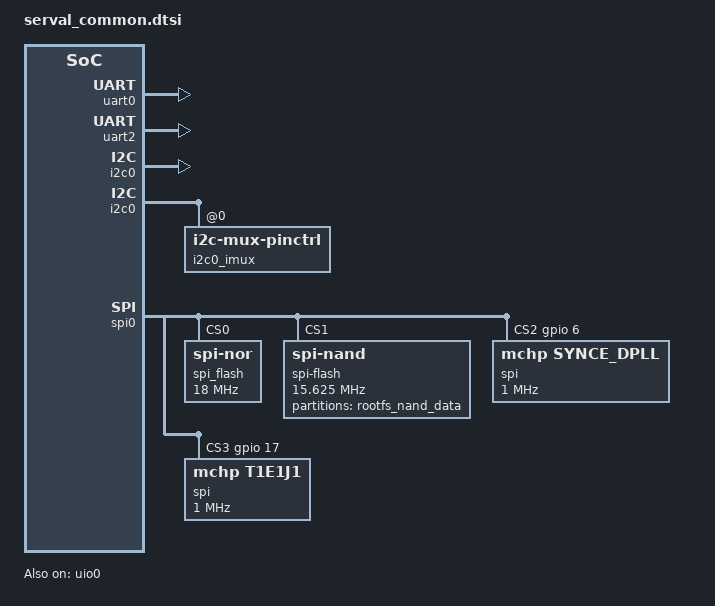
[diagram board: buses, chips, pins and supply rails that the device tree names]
// SPDX-License-Identifier: (GPL-2.0+ OR MIT)
/*
 * Copyright (c) 2020 Microsemi Corporation
 */

#include "serval.dtsi"

/ {
	aliases {
		spi0 = &spi0;
		serial0 = &uart0;
		i2c104  = &i2c104;
		i2c105  = &i2c105;
		i2c106  = &i2c106;
		i2c107  = &i2c107;
		i2c108  = &i2c108;
		i2c109  = &i2c109;
	};

	chosen {
		stdout-path = "serial0:115200n8";
	};
};

&uart0 {
	status = "okay";
};

&uart2 {
	status = "okay";
};

&uio0 {
	status = "okay";
};

&gpio {
	i2c_pins: i2c-pins {
		pins = "GPIO_7"; /* No "default" scl for i2c0 */
		function = "twi";
	};
	i2cmux_pins_i: i2cmux-pins {
		pins = "GPIO_11", "GPIO_12", "GPIO_18", "GPIO_19",
			"GPIO_20", "GPIO_21";
		function = "twi_scl_m";
		output-low;
	};
	i2cmux_0: i2cmux-0-pins {
		pins = "GPIO_11";
		function = "twi_scl_m";
		output-high;
	};
	i2cmux_1: i2cmux-1-pins {
		pins = "GPIO_12";
		function = "twi_scl_m";
		output-high;
	};
	i2cmux_2: i2cmux-2-pins {
		pins = "GPIO_18";
		function = "twi_scl_m";
		output-high;
	};
	i2cmux_3: i2cmux-3-pins {
		pins = "GPIO_19";
		function = "twi_scl_m";
		output-high;
	};
	i2cmux_4: i2cmux-4-pins {
		pins = "GPIO_20";
		function = "twi_scl_m";
		output-high;
	};
	i2cmux_5: i2cmux-5-pins {
		pins = "GPIO_21";
		function = "twi_scl_m";
		output-high;
	};
};

&i2c0 {
	status = "okay";
	i2c-sda-hold-time-ns = <300>;
};

&ahb {
	i2c0_imux: i2c0-imux@0 {
		compatible = "i2c-mux-pinctrl";
		#address-cells = <1>;
		#size-cells = <0>;
		i2c-parent = <&i2c0>;
		pinctrl-names =
			"i2c104", "i2c105", "i2c106", "i2c107",
			"i2c108", "i2c109", "idle";
		pinctrl-0 = <&i2cmux_0>;
		pinctrl-1 = <&i2cmux_1>;
		pinctrl-2 = <&i2cmux_2>;
		pinctrl-3 = <&i2cmux_3>;
		pinctrl-4 = <&i2cmux_4>;
		pinctrl-5 = <&i2cmux_5>;
		pinctrl-6 = <&i2cmux_pins_i>;
		i2c104: i2c_sfp0 {
			reg = <0>;
			#address-cells = <1>;
			#size-cells = <0>;
		};
		i2c105: i2c_sfp1 {
			reg = <1>;
			#address-cells = <1>;
			#size-cells = <0>;
		};
		i2c106: i2c_sfp2 {
			reg = <2>;
			#address-cells = <1>;
			#size-cells = <0>;
		};
		i2c107: i2c_sfp3 {
			reg = <3>;
			#address-cells = <1>;
			#size-cells = <0>;
		};
		i2c108: i2c_sfp4 {
			reg = <4>;
			#address-cells = <1>;
			#size-cells = <0>;
		};
		i2c109: i2c_sfp5 {
			reg = <5>;
			#address-cells = <1>;
			#size-cells = <0>;
		};
	};
};

&spi0 {
	status = "okay";
	cs-gpios = <0>, <0>, <&gpio 6 0>, <&gpio 17 0>;
	spi-flash@0 {
		label = "spi_flash";
		compatible = "jedec,spi-nor";
		spi-max-frequency = <18000000>; /* input clock */
		reg = <0>; /* CS0 */
	};
	spi-flash@1 {
		compatible = "spi-nand";
		pinctrl-0 = <&cs1_pins>;
		pinctrl-names = "default";
		spi-max-frequency = <15625000>;
		reg = <1>; /* CS1 */
		nand-use-soft-ecc-engine;
		nand-ecc-algo = "hamming";
		partitions {
			compatible = "fixed-partitions";
			#address-cells = <1>;
			#size-cells = <1>;
			/* 128MiB */
			partition@0 {
				    label = "rootfs_nand_data";
				    reg = <0x0000000 0x08000000>;
			};
		};
	};
	// synce module
	spi@2 {
		compatible = "mchp,synce_dpll";
		reg = <2>; /* GPIO6 */
		spi-max-frequency = <1000000>;
	};
	// t1e1j1 module
	spi@3 {
		compatible = "mchp,t1e1j1";
		reg = <3>; /* GPIO17 */
		spi-max-frequency = <1000000>;
	};
};

&ahb {
	dying_gasp: dying_gasp@0 {
		compatible = "mscc,dying-gasp";
		reg = <0 0>;
		interrupts = <2>;
		pinctrl-0 = <&irqext1_pins>;
		pinctrl-names = "default";
	};
};
